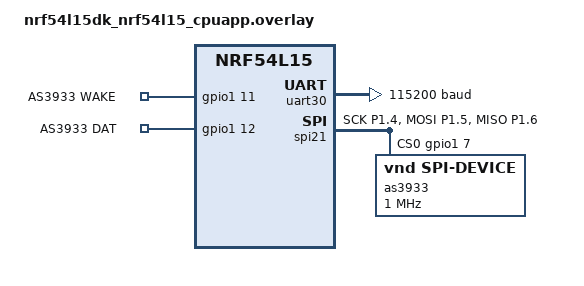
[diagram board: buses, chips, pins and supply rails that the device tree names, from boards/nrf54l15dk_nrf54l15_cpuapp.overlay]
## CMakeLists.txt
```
cmake_minimum_required(VERSION 3.20.0)

find_package(Zephyr REQUIRED HINTS $ENV{ZEPHYR_BASE})
project(brikke)

target_sources(app PRIVATE src/main.c)
```

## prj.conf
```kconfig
# Brikke: AS3933 over SPI + ESB

CONFIG_SPI=y
CONFIG_GPIO=y

# ESB. CONFIG_ESB_CLOCK_INIT far ESB til a starte hoyfrekvensklokka
# selv - uten den kommer radioen aldri i gang.
CONFIG_ESB=y
CONFIG_CLOCK_CONTROL=y
CONFIG_ESB_CLOCK_INIT=y

# Ringbufferet er 6000 x (1 + 4) byte, pluss en utpakket kopi.
CONFIG_MAIN_STACK_SIZE=4096
```

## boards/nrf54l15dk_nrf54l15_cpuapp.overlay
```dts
/*
 * Brikken: AS3933 LF wake-up receiver over SPI
 *
 * Som for, men med DAT lagt til pa P1.12.
 *
 * Konsollen ligger pa uart30 (COM4). uart20 ma vaere av, ellers
 * stjeler den P1.04-P1.07 fra SPI.
 *
 * AS3933 har AKTIV-HOY chip select - GPIO_ACTIVE_HIGH pa cs-gpios,
 * og SPI_CS_ACTIVE_HIGH i koden.
 */

#include <zephyr/dt-bindings/gpio/gpio.h>

/ {
	chosen {
		zephyr,console = &uart30;
		zephyr,shell-uart = &uart30;
	};
};

/* Frigjor P1.04-P1.07 */
&uart20 {
	status = "disabled";
};

&uart30 {
	status = "okay";
	current-speed = <115200>;
};

&pinctrl {
	spi21_default: spi21_default {
		group1 {
			psels = <NRF_PSEL(SPIM_SCK, 1, 4)>,
				<NRF_PSEL(SPIM_MOSI, 1, 5)>,
				<NRF_PSEL(SPIM_MISO, 1, 6)>;
		};
	};

	spi21_sleep: spi21_sleep {
		group1 {
			psels = <NRF_PSEL(SPIM_SCK, 1, 4)>,
				<NRF_PSEL(SPIM_MOSI, 1, 5)>,
				<NRF_PSEL(SPIM_MISO, 1, 6)>;
			low-power-enable;
		};
	};
};

&spi21 {
	status = "okay";
	pinctrl-0 = <&spi21_default>;
	pinctrl-1 = <&spi21_sleep>;
	pinctrl-names = "default", "sleep";

	/* AKTIV HOY - ikke GPIO_ACTIVE_LOW */
	cs-gpios = <&gpio1 7 GPIO_ACTIVE_HIGH>;

	as3933: as3933@0 {
		compatible = "vnd,spi-device";
		reg = <0>;
		spi-max-frequency = <1000000>;
	};
};

/ {
	as3933_gpio {
		compatible = "gpio-keys";

		as3933_wake: wake {
			gpios = <&gpio1 11 (GPIO_ACTIVE_HIGH | GPIO_PULL_DOWN)>;
			label = "AS3933 WAKE";
		};

		/* NYTT: DAT, AS3933 pin 15 -> P1.12.
		 * Ingen pull. Vil vi se om pinnen drives i det hele tatt,
		 * ma vi ikke legge en pull-motstand som maskerer svaret.
		 */
		as3933_dat: dat {
			gpios = <&gpio1 12 GPIO_ACTIVE_HIGH>;
			label = "AS3933 DAT";
		};
	};
};
```

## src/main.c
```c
/*
 * Brikken: AS3933 kantmaling + ESB-sending
 *
 * Steg 2 i tidtakersystemet.
 *
 * Brikka maler RSSI i tett lokke (ca 195 us per maling) inn i en
 * ringbuffer. Nar feltet passerer en terskel, tar den opp resten av
 * passeringen, finner de to terskelkryssingene, og sender resultatet
 * trdlost til porten.
 *
 * ESB-delen er kopiert ordrett fra esb_ptx-eksempelet i NCS. Den
 * eneste endringen er at LOG-makroene er byttet til printk, fordi
 * eksempelets loggniva-symbol ikke finnes utenfor eksempelet.
 *
 * MERK: ingen tidsstempling pa portsiden enna. Brikka regner ut
 * alderen pa midtpunktet i det oyeblikket pakken skrives, men
 * sendingen utloses fra programvare, sa det er noen hundre
 * mikrosekund usikkerhet i den. Det er steg 4 som fjerner den.
 */

#include <zephyr/kernel.h>
#include <zephyr/device.h>
#include <zephyr/devicetree.h>
#include <zephyr/drivers/spi.h>
#include <zephyr/sys/printk.h>
#include <zephyr/types.h>
#include <esb.h>

/* ---------- maleoppsett ---------- */

#define SETTLE_US 100	/* ventetid etter reset_RSSI for avlesning */
#define TRIGGER   13	/* starter opptak. Gulvet er 9. */
#define BEKREFT   3	/* malinger pa rad for en trigging godtas */

#define N    6000	/* ringbuffer, ca 1,17 sekund */
#define POST 4500	/* ovre grense for malinger etter trigging */
#define RO_KRAV 600	/* malinger under terskel for opptaket avsluttes */

#define MIN_SPENN      8	/* trinn mellom gulv og topp */
#define MIN_VARIGHET_US 5000	/* kortere passering finnes ikke */

/* Dempet oppsett. Gir gulv 9 og 23 pa 2 cm = 14 trinn a jobbe med.
 * Uten demping blir gulvet 15-19 og spennet mindre.
 */
#define GAIN_REDUKSJON 0x09
#define DEMPER_PA      1
#define DEMPE_RES      1
#define TOLERANSE      2

/* ---------- AS3933 ---------- */

#define AS3933_MODE_WRITE 0x00
#define AS3933_MODE_READ  0x40
#define AS3933_MODE_CMD   0xC0

#define CMD_CLEAR_WAKE     0x00
#define CMD_RESET_RSSI     0x01
#define CMD_CLEAR_FALSE    0x03
#define CMD_PRESET_DEFAULT 0x04
#define CMD_CALIB_RCO_LC   0x05

#define REG_RSSI1 10

#define SPI_OPER (SPI_WORD_SET(8) | SPI_TRANSFER_MSB | \
		  SPI_CS_ACTIVE_HIGH | SPI_MODE_CPHA)

static const struct spi_dt_spec as3933 =
	SPI_DT_SPEC_GET(DT_NODELABEL(as3933), SPI_OPER, 0);

/* ---------- pakkeformat ---------- */

#define BRIKKE_ID 0x01

/*
 *  0     brikke-id
 *  1     sekvensnummer
 *  2-5   varighet i us        (t2 - t1)
 *  6-9   alder i us           (sendeoyeblikk - midtpunkt)
 *  10    topp-RSSI
 *  11    gulv-RSSI
 *  12-15 midtpunkt - topp i us, med fortegn
 */
#define PAKKE_LEN 16

static uint8_t sekvens;

/* ---------- maledata ---------- */

static uint8_t  ring_v[N];
static uint32_t ring_t[N];
static uint8_t  v[N];	/* utpakket, eldste forst */
static uint32_t t[N];

struct resultat {
	bool     gyldig;
	uint32_t t1;
	uint32_t t2;
	uint32_t midt;
	uint8_t  topp;
	uint8_t  gulv;
	int32_t  avvik;	/* midtpunkt - topp */
};

/* ---------- ESB, ordrett fra esb_ptx ---------- */

static bool ready = true;
static struct esb_payload rx_payload;
static struct esb_payload tx_payload;

void event_handler(struct esb_evt const *event)
{
	ready = true;

	switch (event->evt_id) {
	case ESB_EVENT_TX_SUCCESS:
		break;
	case ESB_EVENT_TX_FAILED:
		printk("ESB: TX FAILED\n");
		break;
	case ESB_EVENT_RX_RECEIVED:
		while (esb_read_rx_payload(&rx_payload) == 0) {
			/* ACK-nyttelast fra porten. Ikke brukt enna. */
		}
		break;
#if IS_ENABLED(CONFIG_ESB_MPSL_TIMESLOT)
	case ESB_EVENT_TIMESLOT_FAILED:
		printk("ESB: feil i timeslot\n");
		break;
#endif
	}
}

int esb_initialize(void)
{
	int err;
	uint8_t base_addr_0[4] = {0xE7, 0xE7, 0xE7, 0xE7};
	uint8_t base_addr_1[4] = {0xC2, 0xC2, 0xC2, 0xC2};
	uint8_t addr_prefix[8] = {0xE7, 0xC2, 0xC3, 0xC4,
				  0xC5, 0xC6, 0xC7, 0xC8};

	struct esb_config config = ESB_DEFAULT_CONFIG;

	config.protocol = ESB_PROTOCOL_ESB_DPL;
	config.retransmit_delay = 600;
	config.bitrate = ESB_BITRATE_2MBPS;
	config.event_handler = event_handler;
	config.mode = ESB_MODE_PTX;
	config.selective_auto_ack = true;
	if (IS_ENABLED(CONFIG_ESB_FAST_SWITCHING)) {
		config.use_fast_ramp_up = true;
	}

	err = esb_init(&config);
	if (err) {
		return err;
	}

	err = esb_set_base_address_0(base_addr_0);
	if (err) {
		return err;
	}

	err = esb_set_base_address_1(base_addr_1);
	if (err) {
		return err;
	}

	err = esb_set_prefixes(addr_prefix, ARRAY_SIZE(addr_prefix));
	if (err) {
		return err;
	}

	return 0;
}

/* ---------- AS3933-hjelpere ---------- */

static int les(uint8_t reg, uint8_t *ut)
{
	uint8_t tx[2] = { AS3933_MODE_READ | (reg & 0x3F), 0x00 };
	uint8_t rx[2] = { 0, 0 };

	const struct spi_buf tx_buf = { .buf = tx, .len = 2 };
	const struct spi_buf rx_buf = { .buf = rx, .len = 2 };
	const struct spi_buf_set tx_set = { .buffers = &tx_buf, .count = 1 };
	const struct spi_buf_set rx_set = { .buffers = &rx_buf, .count = 1 };

	int err = spi_transceive_dt(&as3933, &tx_set, &rx_set);

	if (err == 0) {
		*ut = rx[1];
	}
	return err;
}

static int skriv(uint8_t reg, uint8_t verdi)
{
	uint8_t tx[2] = { AS3933_MODE_WRITE | (reg & 0x3F), verdi };
	const struct spi_buf tx_buf = { .buf = tx, .len = 2 };
	const struct spi_buf_set tx_set = { .buffers = &tx_buf, .count = 1 };

	return spi_write_dt(&as3933, &tx_set);
}

static int kommando(uint8_t kode)
{
	uint8_t tx[1] = { AS3933_MODE_CMD | (kode & 0x3F) };
	const struct spi_buf tx_buf = { .buf = tx, .len = 1 };
	const struct spi_buf_set tx_set = { .buffers = &tx_buf, .count = 1 };

	return spi_write_dt(&as3933, &tx_set);
}

static uint8_t en_maling(void)
{
	uint8_t x = 0;

	kommando(CMD_RESET_RSSI);
	k_busy_wait(SETTLE_US);
	les(REG_RSSI1, &x);

	return x & 0x1F;
}

static void sett_opp_as3933(void)
{
	kommando(CMD_PRESET_DEFAULT);
	k_msleep(20);

	skriv(1, DEMPER_PA ? 0x10 : 0x00);
	skriv(2, TOLERANSE & 0x03);
	skriv(3, 0x00);
	skriv(4, ((DEMPE_RES & 0x03) << 4) | (GAIN_REDUKSJON & 0x0F));
	skriv(8, 0x00);
	k_msleep(20);

	/* Ma gjores for frekvensdeteksjon virker */
	kommando(CMD_CALIB_RCO_LC);
	k_msleep(100);
	skriv(3, 0x00);	/* kalibreringen setter R3 = 0x20 uten a bli bedt om det */

	kommando(CMD_CLEAR_FALSE);
	kommando(CMD_CLEAR_WAKE);
	k_msleep(20);
}

/* ---------- analyse ---------- */

/* Lineaer interpolasjon mellom prove i-1 og i */
static uint32_t kryss(uint32_t i, int32_t niva)
{
	int32_t va = v[i - 1];
	int32_t vb = v[i];
	int32_t dt = (int32_t)(t[i] - t[i - 1]);

	if (vb == va) {
		return t[i];
	}
	return t[i - 1] + (uint32_t)(((niva - va) * dt) / (vb - va));
}

static void analyser(struct resultat *r)
{
	uint32_t i1 = 0, i2 = 0, i_topp = 0, sist = 0;
	uint8_t topp = 0, gulv = 31;
	int32_t terskel;
	bool funnet = false;

	r->gyldig = false;

	for (uint32_t i = 0; i < N; i++) {
		if (v[i] > topp) {
			topp = v[i];
		}
		if (v[i] < gulv) {
			gulv = v[i];
		}
	}

	if (topp - gulv < MIN_SPENN) {
		printk("forkastet: spenn %u trinn (gulv %u, topp %u)\n",
		       topp - gulv, gulv, topp);
		return;
	}

	/* Terskelen velges etter opptaket, midt mellom gulv og topp.
	 * Der er flanken brattest, og malingen blir uavhengig av hvor
	 * naer brikka passerte.
	 */
	terskel = (gulv + topp + 1) / 2;

	/*
	 * ANKRE I SISTE PASSERING.
	 *
	 * Bufferet dekker 1,17 sekund og kan inneholde halen av en
	 * tidligere passering. Leter vi etter toppen i hele bufferet,
	 * og to pukler nar samme toppverdi, havner "midten av platået"
	 * i dalen mellom dem. Da blir t1 og t2 riktige mens
	 * toppreferansen er fullstendig feil.
	 *
	 * Derfor: finn siste maling over terskelen - det er slutten pa
	 * passeringen som nettopp utloste opptaket - og arbeid bakover
	 * derfra.
	 */
	for (uint32_t i = N - 1; i >= 1; i--) {
		if (v[i] >= terskel) {
			sist = i;
			funnet = true;
			break;
		}
	}

	if (!funnet || sist + 1 >= N) {
		printk("forkastet: fant ingen utgangsflanke\n");
		return;
	}

	i2 = sist + 1;

	for (uint32_t i = sist; i >= BEKREFT; i--) {
		if (v[i] < terskel && v[i - 1] < terskel &&
		    v[i - 2] < terskel) {
			i1 = i + 1;
			break;
		}
	}

	if (!i1) {
		printk("forkastet: fant ingen inngangsflanke\n");
		return;
	}

	r->t1 = kryss(i1, terskel);
	r->t2 = kryss(i2, terskel);

	if (r->t2 - r->t1 < MIN_VARIGHET_US) {
		printk("forkastet: varighet %u us\n", r->t2 - r->t1);
		return;
	}

	/*
	 * Topp og platå regnes BARE innenfor passeringen. Toppen er et
	 * plata, ikke et punkt - RSSI har 5 bits, sa naer maksimum star
	 * verdien stille i mange malinger. Forste prove som nar
	 * toppverdien ligger for tidlig og gir systematisk skjevhet.
	 */
	{
		uint8_t lokal_topp = 0;
		uint32_t forste = i1, siste = i1;
		bool sett = false;

		for (uint32_t i = i1; i <= i2; i++) {
			if (v[i] > lokal_topp) {
				lokal_topp = v[i];
			}
		}
		for (uint32_t i = i1; i <= i2; i++) {
			if (v[i] != lokal_topp) {
				continue;
			}
			if (!sett) {
				forste = i;
				sett = true;
			}
			siste = i;
		}

		i_topp = (forste + siste) / 2;
		r->topp = lokal_topp;
	}

	r->gulv = gulv;
	r->midt = (r->t1 + r->t2) / 2;
	r->avvik = (int32_t)(r->midt - t[i_topp]);
	r->gyldig = true;
}

/* ---------- sending ---------- */

static void legg_u32(uint8_t *p, uint32_t x)
{
	p[0] = (uint8_t)(x);
	p[1] = (uint8_t)(x >> 8);
	p[2] = (uint8_t)(x >> 16);
	p[3] = (uint8_t)(x >> 24);
}

static void send_resultat(const struct resultat *r)
{
	uint32_t na;
	uint32_t alder;
	int err;

	tx_payload.pipe = 0;
	tx_payload.length = PAKKE_LEN;
	tx_payload.noack = false;

	tx_payload.data[0] = BRIKKE_ID;
	tx_payload.data[1] = sekvens++;
	legg_u32(&tx_payload.data[2], r->t2 - r->t1);

	/* Alderen regnes sa sent som mulig for skrivingen */
	na = k_cyc_to_us_floor32(k_cycle_get_32());
	alder = na - r->midt;
	legg_u32(&tx_payload.data[6], alder);

	tx_payload.data[10] = r->topp;
	tx_payload.data[11] = r->gulv;
	legg_u32(&tx_payload.data[12], (uint32_t)r->avvik);

	ready = false;
	esb_flush_tx();

	err = esb_write_payload(&tx_payload);
	if (err) {
		printk("ESB: skriving feilet, err %d\n", err);
		ready = true;
		return;
	}

	printk("sendt  varighet %u us  alder %u us  topp %u  gulv %u  "
	       "avvik %d us\n",
	       r->t2 - r->t1, alder, r->topp, r->gulv, r->avvik);
}

/* ---------- hovedprogram ---------- */

int main(void)
{
	uint8_t r5;
	uint32_t hode = 0;
	uint32_t teller = 0;
	uint32_t igjen = 0;
	uint32_t pa_rad = 0;
	uint32_t ro = 0;
	bool trigget = false;
	uint8_t maks = 0, min = 31;
	int err;

	k_msleep(500);

	printk("\n\n=== Brikke: kantmaling + ESB ===\n\n");

	if (!spi_is_ready_dt(&as3933)) {
		printk("FEIL: SPI ikke klar\n");
		return 0;
	}

	err = esb_initialize();
	if (err) {
		printk("FEIL: ESB-init feilet, err %d\n", err);
		return 0;
	}
	printk("ESB klar (PTX)\n");

	sett_opp_as3933();

	les(5, &r5);
	printk("SPI: R5 = 0x%02X %s\n", r5, r5 == 0x69 ? "(ok)" : "(AVVIK)");
	printk("TRIGGER=%d  buffer=%d malinger\n\n", TRIGGER, N);
	printk("Hold spolen unna de forste 1,2 sekundene.\n\n");

	while (1) {
		uint8_t m = en_maling();

		ring_v[hode] = m;
		ring_t[hode] = k_cyc_to_us_floor32(k_cycle_get_32());
		hode = (hode + 1) % N;
		teller++;

		if (m > maks) {
			maks = m;
		}
		if (m < min) {
			min = m;
		}

		pa_rad = (m >= TRIGGER) ? pa_rad + 1 : 0;

		if (!trigget) {
			if (pa_rad >= BEKREFT && teller > N) {
				trigget = true;
				igjen = POST;
				/* Ingen printk her. En utskrift blokkerer
				 * pa UART-en i ca 3 ms, og det hullet
				 * havner noyaktig der t1 skal males.
				 */
			} else if ((teller % 1250) == 0) {
				if (maks + 2 < TRIGGER) {
					printk("venter...  maks=%2u  min=%2u%s\n",
					       maks, min,
					       teller <= N ?
					       "  (fyller buffer)" : "");
				}
				maks = 0;
				min = 31;
			}
			continue;
		}

		/*
		 * Opptaket avsluttes nar feltet har vaert borte i RO_KRAV
		 * malinger, ikke etter et fast etterlop. Et fast etterlop
		 * pa 4500 malinger er 878 ms, og da er hendelsen nesten et
		 * sekund gammel nar pakken gar ut.
		 */
		if (m < TRIGGER - 2) {
			ro++;
		} else {
			ro = 0;
		}

		igjen--;

		if (ro >= RO_KRAV || igjen == 0) {
			struct resultat r;

			for (uint32_t k = 0; k < N; k++) {
				uint32_t i = (hode + k) % N;

				v[k] = ring_v[i];
				t[k] = ring_t[i];
			}

			analyser(&r);

			if (r.gyldig) {
				send_resultat(&r);
			}

			trigget = false;
			teller = 0;
			pa_rad = 0;
			ro = 0;
			maks = 0;
			min = 31;
		}
	}

	return 0;
}
```
